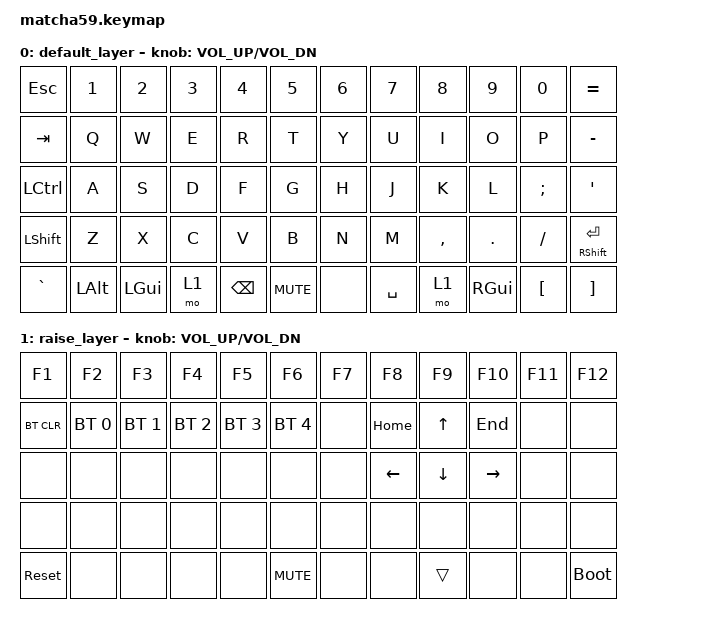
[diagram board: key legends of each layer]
#include <behaviors.dtsi>
#include <dt-bindings/zmk/keys.h>
#include <dt-bindings/zmk/bt.h>

/ {
    keymap {
        compatible = "zmk,keymap";

        default_layer {
// ----------------------------------------------------------------------------------------------------
// |  Esc   |   1   |   2   |   3   |   4   |   5   |   6   |   7   |   8   |   9   |   10   |    =   |
// |  TAB   |   Q   |   W   |   E   |   R   |   T   |   Y   |   U   |   I   |   O   |   P    |    -   |
// |  CTRL  |   A   |   S   |   D   |   F   |   G   |   H   |   J   |   K   |   L   |   ;    |    '   |
// | LSHIFT |   Z   |   X   |   C   |   V   |   B   |   N   |   M   |   ,   |   .   |   /    | RETURN |
// | TILDE  |  LALT |  WIN  | RAISE | BACKSPACE |  MUTE  |  SPACE   | RAISE |  WIN  |   [    |   ]    |
// ----------------------------------------------------------------------------------------------------

            bindings = <
    &kp ESC       &kp N1     &kp N2     &kp N3   &kp N4        &kp N5      &kp N6   &kp N7     &kp N8    &kp N9    &kp N0    &kp EQUAL
    &kp TAB       &kp Q      &kp W      &kp E    &kp R         &kp T       &kp Y    &kp U      &kp I     &kp O     &kp P     &kp MINUS
    &kp LCTRL     &kp A      &kp S      &kp D    &kp F         &kp G       &kp H    &kp J      &kp K     &kp L     &kp SEMI  &kp SQT
    &kp LSHFT     &kp Z      &kp X      &kp C    &kp V         &kp B       &kp N    &kp M      &kp COMMA &kp DOT   &kp FSLH  &mt RSHIFT RETURN
    &kp GRAVE     &kp LALT   &kp LGUI   &mo 1    &kp BACKSPACE &kp C_MUTE  &none    &kp SPACE  &mo 1     &kp RGUI  &kp LBKT  &kp RBKT
            >;

            sensor-bindings = <&inc_dec_kp C_VOL_UP C_VOL_DN>;
        };

        raise_layer {
// ----------------------------------------------------------------------------------------------------
// |  Esc   |   1   |   2   |   3   |   4   |   5   |   6   |   7   |   8   |   9   |   10   |    =   |
// |  TAB   |   Q   |   W   |   E   |   R   |   T   |   Y   |   U   |   I   |   O   |   P    |    -   |
// |  CTRL  |   A   |   S   |   D   |   F   |   G   |   H   |   J   |   K   |   L   |   ;    |   '/"  |
// | LSHIFT |   Z   |   X   |   C   |   V   |   B   |   N   |   M   |   ,   |   .   |   /    | RSHIFT |
// | BACKSP |  LALT |  INS  | HOME  |  SPACE    |  MUTE  |  Enter   | LGUI  |  RGUI |   [    |   ]    |
// ----------------------------------------------------------------------------------------------------

            bindings = <
    &kp F1        &kp F2       &kp F3       &kp F4       &kp F5       &kp F6        &kp F7   &kp F8       &kp F9    &kp F10   &kp F11   &kp F12
    &bt BT_CLR    &bt BT_SEL 0 &bt BT_SEL 1 &bt BT_SEL 2 &bt BT_SEL 3 &bt BT_SEL 4  &none    &kp HOME     &kp UP    &kp END   &none     &none
    &none         &none        &none        &none        &none        &none         &none    &kp LEFT     &kp DOWN  &kp RIGHT &none     &none
    &none         &none        &none        &none        &none        &none         &none    &none        &none     &none     &none     &none
    &sys_reset    &none        &none        &none        &none        &kp C_MUTE    &none    &none        &trans    &none     &none     &bootloader
            >;

            sensor-bindings = <&inc_dec_kp C_VOL_UP C_VOL_DN>;
        };

    };
};
